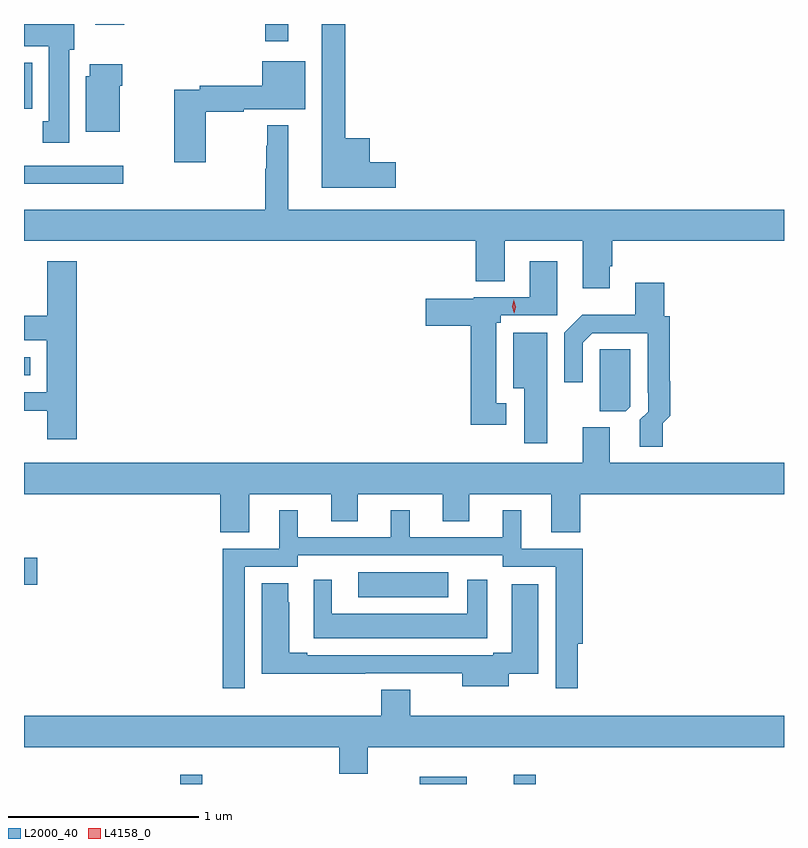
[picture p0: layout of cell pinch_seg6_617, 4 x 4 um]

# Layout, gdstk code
import gdstk
lib = gdstk.Library(unit=1e-6, precision=1e-09)
def R(c, l, rs):  # rectangles x0, y0, x1, y1
    for r in rs: c.add(gdstk.rectangle(r[:2], r[2:], *l))
def P(c, l, *ps):  # polygons
    for p in ps: c.add(gdstk.Polygon(p, *l))
L2000_40 = (2000, 40)
L4158_0 = (4158, 0)

pinch_seg6_617 = lib.new_cell('pinch_seg6_617')
R(pinch_seg6_617, L2000_40, [(398.476,961.794,398.592,961.843), (399.737,961.794,399.982,961.831), (400.23,961.794,400.346,961.843), (399.411,962.777,399.886,962.908), (397.653,962.843,397.723,962.985), (397.653,963.945,397.687,964.041), (397.653,964.952,398.176,965.049), (397.653,965.348,397.696,965.59), (398.922,965.703,399.043,965.794), (398.027,965.79,398.18,965.794)])
P(pinch_seg6_617, L2000_40, [(399.61,965.066),(399.472,965.066),(399.472,965.194),(399.343,965.194),(399.343,965.794),(399.221,965.794),(399.221,964.931),(399.61,964.931)],
  [(397.891,965.658),(397.918,965.658),(397.918,965.794),(397.653,965.794),(397.653,965.678),(397.784,965.678),(397.784,965.282),(397.751,965.282),(397.751,965.169),(397.891,965.169)],
  [(398.61,965.332),(398.81,965.332),(398.81,965.345),(399.133,965.345),(399.133,965.599),(398.906,965.599),(398.906,965.468),(398.578,965.468),(398.578,965.448),(398.444,965.448),(398.444,965.067),(398.61,965.067)],
  [(398.158,965.468),(398.171,965.468),(398.171,965.581),(398,965.581),(398,965.52),(397.979,965.52),(397.979,965.228),(398.158,965.228)],
  [(400.735,964.519),(400.748,964.519),(400.748,964.652),(401.653,964.652),(401.653,964.816),(399.043,964.816),(399.043,965.26),(398.932,965.26),(398.932,965.153),(398.929,965.153),(398.929,965.033),(398.922,965.033),(398.922,964.816),(397.653,964.816),(397.653,964.652),(400.031,964.652),(400.031,964.441),(400.183,964.441),(400.183,964.652),(400.595,964.652),(400.595,964.404),(400.735,964.404)],
  [(400.192,963.797),(400.138,963.797),(400.138,964.221),(400.163,964.221),(400.163,964.26),(400.459,964.26),(400.459,964.546),(400.316,964.546),(400.316,964.356),(400.02,964.356),(400.02,964.347),(399.768,964.347),(399.768,964.205),(400.004,964.205),(400.004,963.684),(400.192,963.684)],
  [(397.931,964.546),(397.775,964.546),(397.775,964.258),(397.653,964.258),(397.653,964.13),(397.772,964.13),(397.772,963.855),(397.653,963.855),(397.653,963.759),(397.775,963.759),(397.775,963.609),(397.931,963.609)],
  [(401.015,963.693),(401.054,963.732),(401.054,963.914),(401.051,963.914),(401.051,964.257),(401.024,964.257),(401.024,964.432),(400.871,964.432),(400.871,964.264),(400.591,964.264),(400.497,964.17),(400.497,963.909),(400.593,963.909),(400.593,964.116),(400.644,964.167),(400.935,964.167),(400.935,963.853),(400.938,963.853),(400.938,963.753),(400.895,963.71),(400.895,963.57),(401.015,963.57)],
  [(400.408,964.168),(400.227,964.168),(400.227,963.878),(400.286,963.878),(400.286,963.588),(400.408,963.588)],
  [(400.845,963.78),(400.845,964.082),(400.683,964.082),(400.683,963.971),(400.682,963.971),(400.682,963.757),(400.821,963.757)],
  [(398.839,963.32),(399.269,963.32),(399.269,963.178),(399.409,963.178),(399.409,963.32),(399.857,963.32),(399.857,963.178),(399.997,963.178),(399.997,963.32),(400.427,963.32),(400.427,963.118),(400.58,963.118),(400.58,963.32),(401.653,963.32),(401.653,963.484),(400.735,963.484),(400.735,963.672),(400.595,963.672),(400.595,963.484),(397.653,963.484),(397.653,963.32),(398.687,963.32),(398.687,963.118),(398.839,963.118)],
  [(398.814,962.937),(399.093,962.937),(399.093,962.997),(400.173,962.997),(400.173,962.937),(400.451,962.937),(400.451,962.635),(400.452,962.635),(400.452,962.298),(400.568,962.298),(400.568,962.531),(400.595,962.531),(400.595,963.033),(400.27,963.033),(400.27,963.235),(400.172,963.235),(400.172,963.093),(399.682,963.093),(399.682,963.235),(399.584,963.235),(399.584,963.093),(399.094,963.093),(399.094,963.235),(398.996,963.235),(398.996,963.033),(398.698,963.033),(398.698,962.298),(398.814,962.298)],
  [(400.09,962.869),(399.986,962.869),(399.986,962.689),(399.274,962.689),(399.274,962.869),(399.177,962.869),(399.177,962.561),(400.09,962.561)],
  [(400.204,962.374),(400.36,962.374),(400.36,962.845),(400.22,962.845),(400.22,962.485),(400.124,962.485),(400.124,962.472),(399.145,962.472),(399.145,962.485),(399.049,962.485),(399.049,962.751),(399.043,962.751),(399.043,962.851),(398.903,962.851),(398.903,962.374),(399.449,962.374),(399.449,962.376),(399.959,962.376),(399.959,962.309),(400.204,962.309)],
  [(399.463,961.988),(401.653,961.988),(401.653,962.152),(399.685,962.152),(399.685,962.291),(399.533,962.291),(399.533,962.152),(397.653,962.152),(397.653,961.988),(399.311,961.988),(399.311,961.849),(399.463,961.849)])
P(pinch_seg6_617, L4158_0, [(400.233,964.271),(400.233,964.272),(400.222,964.306),(400.231,964.341),(400.231,964.342),(400.231,964.341),(400.242,964.307),(400.233,964.272)])

lib.write_gds('pinch_seg6_617.gds')
